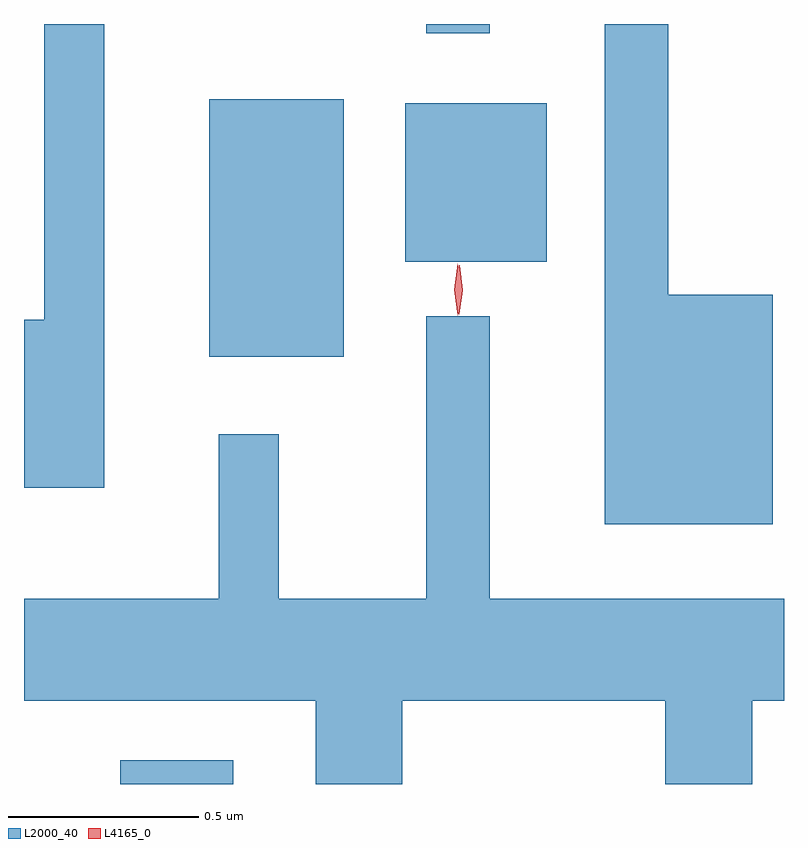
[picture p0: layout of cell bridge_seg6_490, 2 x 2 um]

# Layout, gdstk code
import gdstk
lib = gdstk.Library(unit=1e-6, precision=1e-09)
def R(c, l, rs):  # rectangles x0, y0, x1, y1
    for r in rs: c.add(gdstk.rectangle(r[:2], r[2:], *l))
def P(c, l, *ps):  # polygons
    for p in ps: c.add(gdstk.Polygon(p, *l))
L2000_40 = (2000, 40)
L4165_0 = (4165, 0)

bridge_seg6_490 = lib.new_cell('bridge_seg6_490')
R(bridge_seg6_490, L2000_40, [(623.396,1549.817,623.694,1549.879), (623.631,1550.941,623.984,1551.619), (624.146,1551.191,624.519,1551.609), (624.201,1551.793,624.369,1551.817)])
P(bridge_seg6_490, L2000_40, [(625.114,1551.104),(624.839,1551.104),(624.839,1551.817),(624.671,1551.817),(624.671,1550.501),(625.114,1550.501)],
  [(623.354,1551.817),(623.196,1551.817),(623.196,1551.039),(623.143,1551.039),(623.143,1550.596),(623.354,1550.596)],
  [(624.139,1550.036),(624.831,1550.036),(624.831,1549.817),(625.059,1549.817),(625.059,1550.036),(625.143,1550.036),(625.143,1550.304),(624.369,1550.304),(624.369,1551.048),(624.201,1551.048),(624.201,1550.304),(623.814,1550.304),(623.814,1550.738),(623.656,1550.738),(623.656,1550.304),(623.143,1550.304),(623.143,1550.036),(623.911,1550.036),(623.911,1549.817),(624.139,1549.817)])
P(bridge_seg6_490, L4165_0, [(624.287,1551.053),(624.278,1551.118),(624.289,1551.182),(624.289,1551.182),(624.29,1551.182),(624.298,1551.117),(624.288,1551.053),(624.288,1551.053)],
  [(624.284,1551.05),(624.275,1551.118),(624.284,1551.186),(624.285,1551.186),(624.285,1551.186),(624.295,1551.118),(624.285,1551.05),(624.285,1551.05)])

lib.write_gds('bridge_seg6_490.gds')
